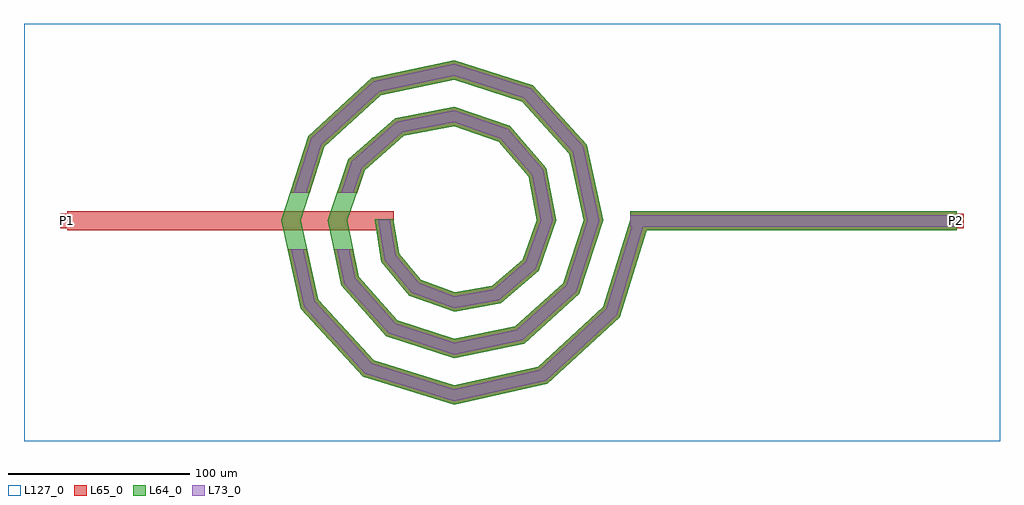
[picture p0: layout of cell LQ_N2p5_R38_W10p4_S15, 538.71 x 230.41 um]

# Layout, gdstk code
import gdstk
lib = gdstk.Library(unit=1e-6, precision=1e-09)
def R(c, l, rs):  # rectangles x0, y0, x1, y1
    for r in rs: c.add(gdstk.rectangle(r[:2], r[2:], *l))
def P(c, l, *ps):  # polygons
    for p in ps: c.add(gdstk.Polygon(p, *l))
L64_0 = (64, 0)
L65_0 = (65, 0)
L73_0 = (73, 0)
L127_0 = (127, 0)

lq_n2p5_r38_w10p4_s15 = lib.new_cell('LQ_N2p5_R38_W10p4_S15')
R(lq_n2p5_r38_w10p4_s15, L64_0, [(97.471,-5.2,277.471,5.2)])
P(lq_n2p5_r38_w10p4_s15, L64_0, [(-30.236,-18.067),(-18.244,-32.603),(0.478,-39.496),(21.213,-35.829),(38.129,-21.51),(45.915,0.418),(41.416,24.376),(24.763,43.664),(0.372,52.335),(-27.549,46.998),(-49.204,28.008),(-58.757,0.335),(-52.576,-30.729),(-31.247,-54.749),(0.304,-65.178),(33.915,-58.152),(60.297,-34.481),(71.6,0.279),(63.726,37.106),(37.712,65.848),(0.258,78.023),(-40.299,69.298),(-71.4,40.94),(-84.445,0.239),(-74.869,-43.495),(-44.166,-76.954),(0.223,-90.868),(46.694,-80.439),(82.509,-47.39),(97.704,1.542),(107.637,-1.542),(91.613,-53.14),(51.695,-89.975),(0.223,-101.627),(-49.941,-86.043),(-84.419,-48.47),(-95.203,0.239),(-80.471,46.743),(-45.243,78.865),(0.258,88.779),(43.548,74.898),(73.312,42.013),(82.355,0.279),(69.323,-40.355),(38.78,-67.76),(0.304,-75.93),(-37.166,-63.746),(-62.21,-35.543),(-69.506,0.335),(-58.166,33.982),(-32.3,56.664),(0.372,63.08),(30.804,52.581),(51.12,29.05),(56.654,0.418),(46.99,-27.634),(25.789,-45.581),(0.478,-50.227),(-24.477,-41.391),(-40.05,-22.513),(-43.571,0.834),(-33.305,0.834)])
R(lq_n2p5_r38_w10p4_s15, L65_0, [(-213.238,-5.2,-33.238,5.2), (97.471,-5.2,277.471,5.2), (-217.238,-4,-209.238,4), (273.471,-4,281.471,4)])
P(lq_n2p5_r38_w10p4_s15, L65_0, [(-74.869,-43.495),(-44.166,-76.954),(0.223,-90.868),(46.694,-80.439),(82.509,-47.39),(97.705,1.542),(107.637,-1.542),(91.613,-53.14),(51.695,-89.975),(0.223,-101.627),(-49.941,-86.043),(-84.419,-48.47),(-91.696,-15.6),(-81.045,-15.6)],
  [(-52.576,-30.729),(-31.247,-54.749),(0.305,-65.178),(33.915,-58.152),(60.297,-34.481),(71.6,0.279),(63.726,37.106),(37.712,65.848),(0.258,78.023),(-40.299,69.298),(-71.4,40.94),(-79.428,15.6),(-90.337,15.6),(-80.471,46.743),(-45.243,78.865),(0.258,88.779),(43.548,74.898),(73.312,42.013),(82.355,0.279),(69.323,-40.355),(38.78,-67.76),(0.305,-75.93),(-37.166,-63.746),(-62.211,-35.543),(-66.266,-15.6),(-55.653,-15.6)],
  [(-18.244,-32.603),(0.478,-39.496),(21.213,-35.829),(38.129,-21.51),(45.915,0.419),(41.416,24.376),(24.763,43.664),(0.372,52.336),(-27.549,46.998),(-49.204,28.008),(-53.386,15.6),(-64.361,15.6),(-58.166,33.982),(-32.3,56.664),(0.372,63.08),(30.804,52.581),(51.12,29.05),(56.654,0.419),(46.99,-27.634),(25.789,-45.581),(0.478,-50.227),(-24.477,-41.391),(-40.05,-22.513),(-43.571,0.834),(-33.306,0.834),(-30.236,-18.067)])
R(lq_n2p5_r38_w10p4_s15, L73_0, [(97.471,-3.2,277.471,3.2)])
P(lq_n2p5_r38_w10p4_s15, L73_0, [(-76.706,-44.452),(-45.276,-78.702),(0.137,-92.937),(47.655,-82.273),(84.26,-48.495),(99.615,0.949),(105.727,0.949),(89.862,-52.034),(50.733,-88.141),(0.137,-99.558),(-48.83,-84.295),(-82.583,-47.513),(-89.648,-15.6),(-83.093,-15.6)],
  [(-54.429,-31.655),(-32.385,-56.479),(0.187,-67.246),(34.851,-60),(62.033,-35.611),(73.669,0.172),(65.569,38.05),(38.834,67.588),(0.159,80.091),(-41.25,71.138),(-73.145,42.056),(-81.526,15.6),(-88.239,15.6),(-78.727,45.627),(-44.292,77.025),(0.159,86.711),(42.426,73.158),(71.468,41.069),(80.287,0.172),(67.588,-39.226),(37.845,-65.912),(0.187,-73.863),(-36.028,-62.016),(-60.358,-34.617),(-64.225,-15.6),(-57.694,-15.6)],
  [(-19.442,-34.293),(0.294,-41.56),(22.093,-37.705),(39.833,-22.687),(47.98,0.258),(43.282,25.275),(25.925,45.379),(0.229,54.402),(-28.462,48.857),(-50.928,29.157),(-55.497,15.6),(-62.25,15.6),(-56.442,32.833),(-31.387,54.805),(0.229,61.014),(29.642,50.866),(49.254,28.151),(54.589,0.258),(45.286,-26.456),(24.909,-43.706),(0.294,-48.163),(-23.278,-39.701),(-38.162,-21.658),(-41.597,0.513),(-35.28,0.513),(-32.123,-18.922)])
R(lq_n2p5_r38_w10p4_s15, L127_0, [(-237.238,-121.627,301.471,108.779)])
lq_n2p5_r38_w10p4_s15.add(gdstk.Label('P2', (277.471,0), layer=65, texttype=0))
lq_n2p5_r38_w10p4_s15.add(gdstk.Label('P1', (-213.238,0), layer=65, texttype=0))
lq_n2p5_r38_w10p4_s15.add(gdstk.Label('P2', (281.471,0), layer=145, texttype=0))
lq_n2p5_r38_w10p4_s15.add(gdstk.Label('P1', (-217.238,0), layer=145, texttype=0))

lib.write_gds('LQ_N2p5_R38_W10p4_S15.gds')
